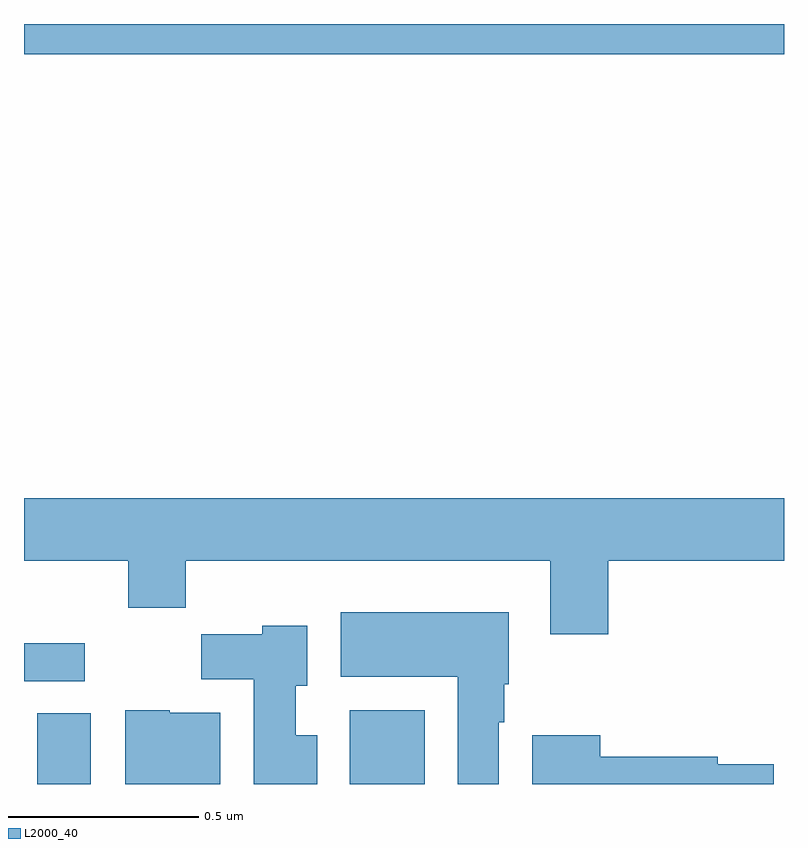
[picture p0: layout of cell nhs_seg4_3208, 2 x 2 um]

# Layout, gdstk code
import gdstk
lib = gdstk.Library(unit=1e-6, precision=1e-09)
def R(c, l, rs):  # rectangles x0, y0, x1, y1
    for r in rs: c.add(gdstk.rectangle(r[:2], r[2:], *l))
def P(c, l, *ps):  # polygons
    for p in ps: c.add(gdstk.Polygon(p, *l))
L2000_40 = (2000, 40)

nhs_seg4_3208 = lib.new_cell('nhs_seg4_3208')
R(nhs_seg4_3208, L2000_40, [(150.035,794.9,150.175,795.086), (150.857,794.9,151.054,795.094), (150,795.171,150.16,795.27), (150,796.82,152,796.9)])
P(nhs_seg4_3208, L2000_40, [(151.538,795.488),(152,795.488),(152,795.652),(150,795.652),(150,795.488),(150.274,795.488),(150.274,795.364),(150.425,795.364),(150.425,795.488),(151.385,795.488),(151.385,795.294),(151.538,795.294)],
  [(151.249,795.062),(151.264,795.062),(151.264,795.162),(151.276,795.162),(151.276,795.352),(150.833,795.352),(150.833,795.182),(151.142,795.182),(151.142,794.9),(151.249,794.9)],
  [(150.772,795.028),(150.715,795.028),(150.715,795.158),(150.745,795.158),(150.745,795.316),(150.627,795.316),(150.627,795.294),(150.466,795.294),(150.466,795.176),(150.605,795.176),(150.605,794.9),(150.772,794.9)],
  [(150.517,795.088),(150.384,795.088),(150.384,795.094),(150.266,795.094),(150.266,794.9),(150.517,794.9)],
  [(151.973,794.952),(151.826,794.952),(151.826,794.972),(151.516,794.972),(151.516,795.028),(151.337,795.028),(151.337,794.9),(151.973,794.9)])

lib.write_gds('nhs_seg4_3208.gds')
